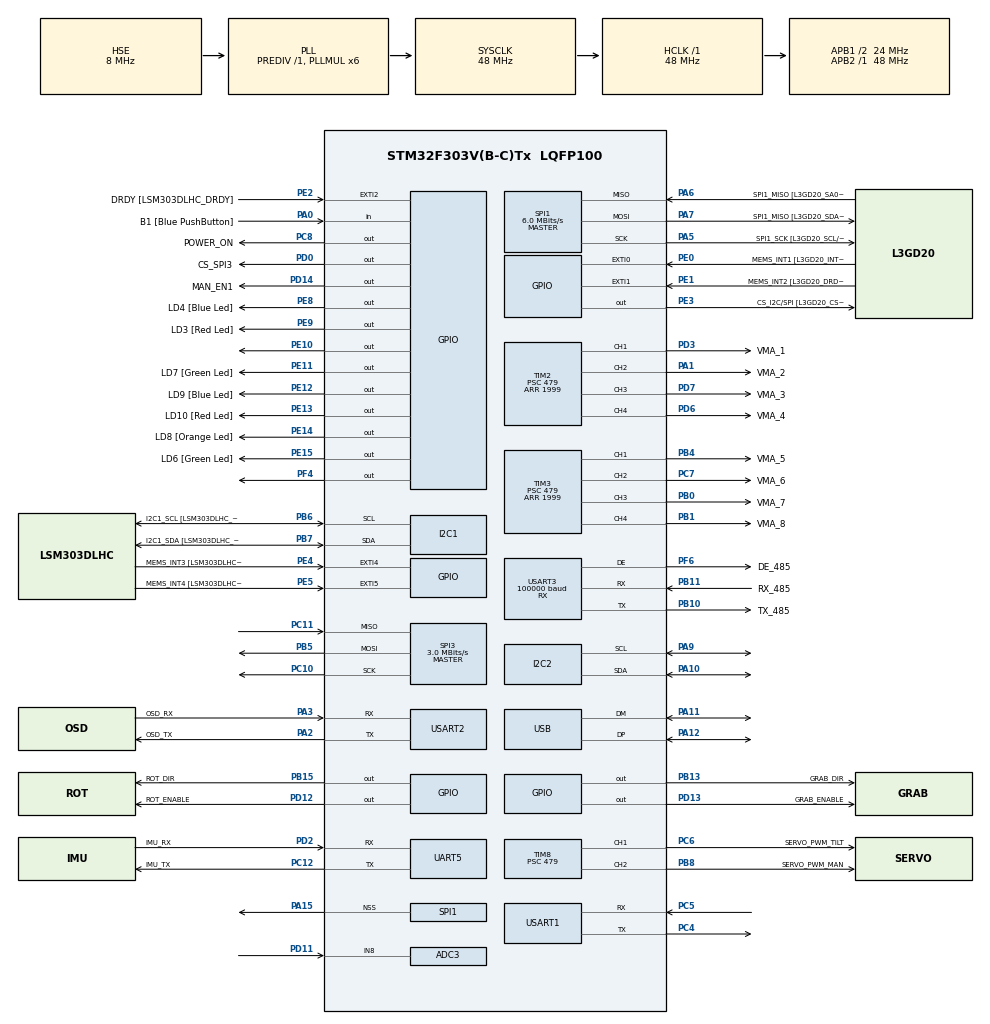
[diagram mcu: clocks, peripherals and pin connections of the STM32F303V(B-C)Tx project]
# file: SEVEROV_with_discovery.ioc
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ADC3.Channel-0\#ChannelRegularConversion=ADC_CHANNEL_8
ADC3.ContinuousConvMode=ENABLE
ADC3.NbrOfConversionFlag=1
ADC3.Offset-0\#ChannelRegularConversion=0
ADC3.OffsetNumber-0\#ChannelRegularConversion=ADC_OFFSET_NONE
ADC3.Rank-0\#ChannelRegularConversion=1
ADC3.SamplingTime-0\#ChannelRegularConversion=ADC_SAMPLETIME_19CYCLES_5
ADC3.SamplingTimeOPAMP-0\#ChannelRegularConversion=ADC_SAMPLETIME_19CYCLES_5
ADC3.master=1
I2C1.Timing-I2C=0x2000090E
I2C2.Speed=100
Mcu.Family=STM32F3
Mcu.Name=STM32F303V(B-C)Tx
Mcu.Package=LQFP100
NVIC.PriorityGroup=NVIC_PRIORITYGROUP_0
PA0.GPIO_Label=B1 [Blue PushButton]
PA0.Signal=GPIO_Input
PA1.GPIO_Label=VMA_2
PA1.Signal=S_TIM2_CH2
PA10.GPIO_Pu=GPIO_PULLUP
PA10.Mode=I2C
PA10.Signal=I2C2_SDA
PA11.Mode=Device
PA11.Signal=USB_DM
PA12.Mode=Device
PA12.Signal=USB_DP
PA13.GPIO_Label=SWDIO
PA13.Mode=Serial_Wire
PA13.Signal=SYS_JTMS-SWDIO
PA14.GPIO_Label=SWCLK
PA14.Mode=Serial_Wire
PA14.Signal=SYS_JTCK-SWCLK
PA15.Mode=NSS_Signal_Hard_Output
PA15.Signal=SPI1_NSS
PA2.GPIO_Label=OSD_TX
PA2.Mode=Asynchronous
PA2.Signal=USART2_TX
PA3.GPIO_Label=OSD_RX
PA3.Mode=Asynchronous
PA3.Signal=USART2_RX
PA5.GPIO_Label=SPI1_SCK [L3GD20_SCL/SPC]
PA5.Mode=Full_Duplex_Master
PA5.Signal=SPI1_SCK
PA6.GPIO_Label=SPI1_MISO [L3GD20_SA0/SDO]
PA6.Mode=Full_Duplex_Master
PA6.Signal=SPI1_MISO
PA7.GPIO_Label=SPI1_MISO [L3GD20_SDA/SDI/SDO]
PA7.Mode=Full_Duplex_Master
PA7.Signal=SPI1_MOSI
PA9.GPIO_Pu=GPIO_PULLUP
PA9.Mode=I2C
PA9.Signal=I2C2_SCL
PB0.GPIO_Label=VMA_7
PB0.Signal=S_TIM3_CH3
PB1.GPIO_Label=VMA_8
PB1.Signal=S_TIM3_CH4
PB10.GPIO_Label=TX_485
PB10.Mode=Asynchronous
PB10.Signal=USART3_TX
PB11.GPIO_Label=RX_485
PB11.Mode=Asynchronous
PB11.Signal=USART3_RX
PB13.GPIO_Label=GRAB_DIR
PB13.Signal=GPIO_Output
PB15.GPIO_Label=ROT_DIR
PB15.Signal=GPIO_Output
PB3.GPIO_Label=SWO
PB3.Signal=SYS_JTDO-TRACESWO
PB4.GPIO_Label=VMA_5
PB4.Signal=S_TIM3_CH1
PB5.Mode=Full_Duplex_Master
PB5.Signal=SPI3_MOSI
PB6.GPIO_Label=I2C1_SCL [LSM303DLHC_SCL]
PB6.GPIO_Pu=GPIO_PULLUP
PB6.Mode=I2C
PB6.Signal=I2C1_SCL
PB7.GPIO_Label=I2C1_SDA [LSM303DLHC_SDA]
PB7.GPIO_Pu=GPIO_PULLUP
PB7.Mode=I2C
PB7.Signal=I2C1_SDA
PB8.GPIO_Label=SERVO_PWM_MAN
PB8.Signal=S_TIM8_CH2
PC10.Mode=Full_Duplex_Master
PC10.Signal=SPI3_SCK
PC11.Mode=Full_Duplex_Master
PC11.Signal=SPI3_MISO
PC12.GPIO_Label=IMU_TX
PC12.Mode=Asynchronous
PC12.Signal=UART5_TX
PC14-OSC32_IN.GPIO_Label=OSC32_IN
PC14-OSC32_IN.Signal=RCC_OSC32_IN
PC15-OSC32_OUT.GPIO_Label=OSC32_OUT
PC15-OSC32_OUT.Signal=RCC_OSC32_OUT
PC4.Mode=Asynchronous
PC4.Signal=USART1_TX
PC5.Mode=Asynchronous
PC5.Signal=USART1_RX
PC6.GPIO_Label=SERVO_PWM_TILT
PC6.Signal=S_TIM8_CH1
PC7.GPIO_Label=VMA_6
PC7.Signal=S_TIM3_CH2
PC8.GPIO_Label=POWER_ON
PC8.Signal=GPIO_Output
PD0.GPIO_Label=CS_SPI3
PD0.Signal=GPIO_Output
PD11.Signal=ADCx_IN8P
PD12.GPIO_Label=ROT_ENABLE
PD12.GPIO_PuPd=GPIO_PULLUP
PD12.PinState=GPIO_PIN_SET
PD12.Signal=GPIO_Output
PD13.GPIO_Label=GRAB_ENABLE
PD13.GPIO_PuPd=GPIO_PULLUP
PD13.GPIO_Speed=GPIO_SPEED_FREQ_LOW
PD13.PinState=GPIO_PIN_SET
PD13.Signal=GPIO_Output
PD14.GPIO_Label=MAN_EN1
PD14.Signal=GPIO_Output
PD2.GPIO_Label=IMU_RX
PD2.Mode=Asynchronous
PD2.Signal=UART5_RX
PD3.GPIO_Label=VMA_1
PD3.Signal=S_TIM2_CH1_ETR
PD6.GPIO_Label=VMA_4
PD6.Signal=S_TIM2_CH4
PD7.GPIO_Label=VMA_3
PD7.Signal=S_TIM2_CH3
PE0.GPIO_Label=MEMS_INT1 [L3GD20_INT1]
PE0.GPIO_ModeDefaultEXTI=GPIO_MODE_EVT_RISING
PE0.Signal=GPXTI0
PE1.GPIO_Label=MEMS_INT2 [L3GD20_DRDY/INT2]
PE1.GPIO_ModeDefaultEXTI=GPIO_MODE_EVT_RISING
PE1.Signal=GPXTI1
PE10.Signal=GPIO_Output
PE11.GPIO_Label=LD7 [Green Led]
PE11.Signal=GPIO_Output
PE12.GPIO_Label=LD9 [Blue Led]
PE12.Signal=GPIO_Output
PE13.GPIO_Label=LD10 [Red Led]
PE13.Signal=GPIO_Output
PE14.GPIO_Label=LD8 [Orange Led]
PE14.Signal=GPIO_Output
PE15.GPIO_Label=LD6 [Green Led]
PE15.Signal=GPIO_Output
PE2.GPIO_Label=DRDY [LSM303DLHC_DRDY]
PE2.GPIO_ModeDefaultEXTI=GPIO_MODE_EVT_RISING
PE2.Signal=GPXTI2
PE3.GPIO_Label=CS_I2C/SPI [L3GD20_CS_I2C/SPI]
PE3.Signal=GPIO_Output
PE4.GPIO_Label=MEMS_INT3 [LSM303DLHC_INT1]
PE4.GPIO_ModeDefaultEXTI=GPIO_MODE_EVT_RISING
PE4.Signal=GPXTI4
PE5.GPIO_Label=MEMS_INT4 [LSM303DLHC_INT2]
PE5.GPIO_ModeDefaultEXTI=GPIO_MODE_EVT_RISING
PE5.Signal=GPXTI5
PE8.GPIO_Label=LD4 [Blue Led]
PE8.Signal=GPIO_Output
PE9.GPIO_Label=LD3 [Red Led]
PE9.Signal=GPIO_Output
PF0-OSC_IN.GPIO_Label=OSC_IN
PF0-OSC_IN.Mode=HSE-External-Oscillator
PF0-OSC_IN.Signal=RCC_OSC_IN
PF1-OSC_OUT.GPIO_Label=OSC_OUT
PF1-OSC_OUT.Mode=HSE-External-Oscillator
PF1-OSC_OUT.Signal=RCC_OSC_OUT
PF4.Signal=GPIO_Output
PF6.GPIO_Label=DE_485
PF6.Mode=Hardware Flow Control (RS485)
PF6.Signal=USART3_DE
ProjectManager.HeapSize=0x200
ProjectManager.StackSize=0x400
ProjectManager.TargetToolchain=STM32CubeIDE
RCC.AHBFreq_Value=48000000
RCC.APB1CLKDivider=RCC_HCLK_DIV2
RCC.APB1Freq_Value=24000000
RCC.APB1TimFreq_Value=48000000
RCC.APB2Freq_Value=48000000
RCC.APB2TimFreq_Value=48000000
RCC.CortexFreq_Value=48000000
RCC.HCLKFreq_Value=48000000
RCC.HSE_VALUE=8000000
RCC.HSI_VALUE=8000000
RCC.LSE_VALUE=32768
RCC.PLLMUL=RCC_PLL_MUL6
RCC.SYSCLKFreq_VALUE=48000000
RCC.SYSCLKSourceVirtual=RCC_SYSCLKSOURCE_PLLCLK
RCC.USBFreq_Value=48000000
SH.ADCx_IN8P.0=ADC3_IN8,IN8-Single-Ended
SH.S_TIM2_CH1_ETR.0=TIM2_CH1,PWM Generation1 CH1
SH.S_TIM2_CH2.0=TIM2_CH2,PWM Generation2 CH2
SH.S_TIM2_CH3.0=TIM2_CH3,PWM Generation3 CH3
SH.S_TIM2_CH4.0=TIM2_CH4,PWM Generation4 CH4
SH.S_TIM3_CH1.0=TIM3_CH1,PWM Generation1 CH1
SH.S_TIM3_CH2.0=TIM3_CH2,PWM Generation2 CH2
SH.S_TIM3_CH3.0=TIM3_CH3,PWM Generation3 CH3
SH.S_TIM3_CH4.0=TIM3_CH4,PWM Generation4 CH4
SH.S_TIM8_CH1.0=TIM8_CH1,PWM Generation1 CH1
SH.S_TIM8_CH2.0=TIM8_CH2,PWM Generation2 CH2
SPI1.BaudRatePrescaler=SPI_BAUDRATEPRESCALER_8
SPI1.CalculateBaudRate=6.0 MBits/s
SPI1.DataSize=SPI_DATASIZE_8BIT
SPI1.Direction=SPI_DIRECTION_2LINES
SPI1.Mode=SPI_MODE_MASTER
SPI1.VirtualNSS=VM_NSSHARD
SPI1.VirtualType=VM_MASTER
SPI3.BaudRatePrescaler=SPI_BAUDRATEPRESCALER_8
SPI3.CLKPhase=SPI_PHASE_1EDGE
SPI3.CLKPolarity=SPI_POLARITY_LOW
SPI3.CalculateBaudRate=3.0 MBits/s
SPI3.DataSize=SPI_DATASIZE_8BIT
SPI3.Direction=SPI_DIRECTION_2LINES
SPI3.FirstBit=SPI_FIRSTBIT_MSB
SPI3.Mode=SPI_MODE_MASTER
SPI3.NSSPMode=SPI_NSS_PULSE_ENABLE
SPI3.VirtualType=VM_MASTER
TIM2.Channel-PWM\ Generation1\ CH1=TIM_CHANNEL_1
TIM2.Channel-PWM\ Generation2\ CH2=TIM_CHANNEL_2
TIM2.Channel-PWM\ Generation3\ CH3=TIM_CHANNEL_3
TIM2.Channel-PWM\ Generation4\ CH4=TIM_CHANNEL_4
TIM2.ClockDivision=TIM_CLOCKDIVISION_DIV4
TIM2.Period=1999
TIM2.Prescaler=479
TIM2.Pulse-PWM\ Generation2\ CH2=150
TIM2.Pulse-PWM\ Generation3\ CH3=150
TIM2.Pulse-PWM\ Generation4\ CH4=150
TIM3.Channel-PWM\ Generation1\ CH1=TIM_CHANNEL_1
TIM3.Channel-PWM\ Generation2\ CH2=TIM_CHANNEL_2
TIM3.Channel-PWM\ Generation3\ CH3=TIM_CHANNEL_3
TIM3.Channel-PWM\ Generation4\ CH4=TIM_CHANNEL_4
TIM3.ClockDivision=TIM_CLOCKDIVISION_DIV4
TIM3.Period=1999
TIM3.Prescaler=479
TIM3.Pulse-PWM\ Generation1\ CH1=150
TIM3.Pulse-PWM\ Generation2\ CH2=150
TIM3.Pulse-PWM\ Generation3\ CH3=150
TIM3.Pulse-PWM\ Generation4\ CH4=150
TIM8.Channel-PWM\ Generation1\ CH1=TIM_CHANNEL_1
TIM8.Channel-PWM\ Generation2\ CH2=TIM_CHANNEL_2
TIM8.ClockDivision=TIM_CLOCKDIVISION_DIV4
TIM8.Period=1999
TIM8.Prescaler=479
TIM8.Pulse-PWM\ Generation1\ CH1=150
TIM8.Pulse-PWM\ Generation2\ CH2=150
USART1.VirtualMode-Asynchronous=VM_ASYNC
USART2.VirtualMode-Asynchronous=VM_ASYNC
USART3.BaudRate=100000
USART3.DMADisableonRxErrorParam=ADVFEATURE_DMA_DISABLEONRXERROR
USART3.Mode=MODE_RX
USART3.OverrunDisableParam=ADVFEATURE_OVERRUN_DISABLE
USART3.Parity=PARITY_EVEN
USART3.RxPinLevelInvertParam=ADVFEATURE_RXINV_ENABLE
USART3.StopBits=STOPBITS_2
USART3.TxPinLevelInvertParam=ADVFEATURE_TXINV_ENABLE
USART3.VirtualMode-Asynchronous=VM_ASYNC
USART3.VirtualMode-Hardware\ Flow\ Control\ (RS485)=VM_ASYNC
USART3.WordLength=WORDLENGTH_9B
board=STM32F3DISCOVERY

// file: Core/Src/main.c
/* USER CODE BEGIN Header */
/**
 ******************************************************************************
 * @file           : main.c
 * @brief          : Main program body
 ******************************************************************************
 * @attention
 *
 * Copyright (c) 2022 STMicroelectronics.
 * All rights reserved.
 *
 * This software is licensed under terms that can be found in the LICENSE file
 * in the root directory of this software component.
 * If no LICENSE file comes with this software, it is provided AS-IS.
 *
 ******************************************************************************
 */
/* USER CODE END Header */
#include "main.h"

/* USER CODE BEGIN Includes */
#include <stdio.h>
#include "string.h"
#include <math.h>

#include "Thruster.h" //хедр для работы с ВМА
#include "MS5837-30BA.h" //хедр для работы с датчиком глубины

#include "max7456.h" //хедр для работы с  максом
#include "osdWidgets.h" //хедр для выводы  виджетов на экран

#include "l3gd20.h" //либа для работы с гироскопом
#include "lsm303dlhc.h" //либа для работы с компосом и акселирометром
#include "imu9dof.h" //либа для оброботки данных с иму
#include "MadgwickAHRS.h"
/* USER CODE END Includes */

ADC_HandleTypeDef hadc3;

I2C_HandleTypeDef hi2c1;
I2C_HandleTypeDef hi2c2;

SPI_HandleTypeDef hspi1;
SPI_HandleTypeDef hspi3;

TIM_HandleTypeDef htim2;
TIM_HandleTypeDef htim3;
TIM_HandleTypeDef htim8;

UART_HandleTypeDef huart5;
UART_HandleTypeDef huart1;
UART_HandleTypeDef huart2;
UART_HandleTypeDef huart3;

PCD_HandleTypeDef hpcd_USB_FS;

/* USER CODE BEGIN PV */

float GyroBuffer[3], AccBuffer[3], MagBuffer[3], Buffer[3];//массив для �?МУ
float magX_bias, magY_bias, xem; //переменные хз для чего
char    buf[60];
#define PI 3.14159265359

uint16_t ch_[16];// массив каналов
uint8_t buf_[22];//буфер юарт

int marsh[8] = {70,-70,70,-70,70,-70,-70,70};//вектор марша
int lag[8] = {70,70,-70,-70,-70,70,-70,70};//вектор лага
int up[8] = {-70,-70,-70,-70,70,70,70,70};//вектор движения вверх и низ

int kurs[8] = {40,40,-40,-40,40,-40,40,-40};//вектор курса
int kren[8] = {-0,0,0,-0,0,0,-0,-0};//вектор крена
int diferent[8] = {-0,-0,-0,-0,0,0,0,0};//вектор диффирента

int vma[8] = {0,0,0,0,0,0,0,0};//суммарный вектор

int max_speed = 70;
//переменные для коэфицентов по осям
float marsh_k;
float lag_k;
float up_k;
float kurs_k;
float kren_k;
float diferent_k;
float tilt_k;
float main_k;

float rot_k;
float grab_k;

int init_depth_status;

uint16_t adc = 0;// переменная для измерения напряжения на акуумах

int32_t real_depth = 0; //переменная для глубины

uint32_t init_pressure = 0; //значение атмасферного давленения

/* USER CODE END PV */

void SystemClock_Config(void);
static void MX_GPIO_Init(void);
static void MX_I2C1_Init(void);
static void MX_SPI1_Init(void);
static void MX_I2C2_Init(void);
static void MX_USART1_UART_Init(void);
static void MX_USART2_UART_Init(void);
static void MX_TIM2_Init(void);
static void MX_TIM3_Init(void);
static void MX_TIM8_Init(void);
static void MX_USART3_UART_Init(void);
static void MX_SPI3_Init(void);
static void MX_USB_PCD_Init(void);
static void MX_UART5_Init(void);
static void MX_ADC3_Init(void);

int main(void)
{

	/* MCU Configuration--------------------------------------------------------*/

	/* Reset of all peripherals, Initializes the Flash interface and the Systick. */
	HAL_Init();

	/* Configure the system clock */
	SystemClock_Config();

	/* Initialize all configured peripherals */
	MX_GPIO_Init();
	MX_I2C1_Init();
	MX_SPI1_Init();
	MX_I2C2_Init();
	MX_USART1_UART_Init();
	MX_USART2_UART_Init();
	MX_TIM2_Init();
	MX_TIM3_Init();
	MX_TIM8_Init();
	MX_USART3_UART_Init();
	MX_SPI3_Init();
	MX_USB_PCD_Init();
	MX_UART5_Init();
	MX_ADC3_Init();
	/* USER CODE BEGIN 2 */
	HAL_GPIO_WritePin(LD9_GPIO_Port, LD9_Pin, GPIO_PIN_SET); //индикация о начале работы программы

	HAL_GPIO_WritePin(POWER_ON_GPIO_Port, POWER_ON_Pin, GPIO_PIN_SET); //включаем силовое питание
	HAL_GPIO_WritePin(CS_SPI3_GPIO_Port, CS_SPI3_Pin, GPIO_PIN_SET); //выключаем spi на max7456

	HAL_ADCEx_Calibration_Start(&hadc3,ADC_SINGLE_ENDED); //калибруем ацп на измерение напрежения с аккумов
	HAL_ADC_Start_IT(&hadc3); //начинаем измерять напряжение

	HAL_GPIO_WritePin(ROT_ENABLE_GPIO_Port, ROT_ENABLE_Pin, GPIO_PIN_SET);
	HAL_GPIO_WritePin(GRAB_ENABLE_GPIO_Port, GRAB_ENABLE_Pin, GPIO_PIN_SET);

	HAL_TIM_PWM_Start_IT(&htim8, TIM_CHANNEL_1); //стартуем ШИМ на серву на тилте

	Thruster_Init();//�?ницилизируем ВМА

	resetMax7456();//ресетим МАКС
	initMax7456();//иницилизируем макс
//	downloadMax7456Font();
//	showMax7456Font();
	init_depth_status = pressure_init();//иницилизируем датчик датчик глубины

	l3gd20_init();//иницилизируем гироскоп
	l3gd20_reboot();

	lsm_init(); //иницилизируем магнитометр и аксилирометр
	lsm_reboot();

	magX_bias = 0;//хз что-ето
	magY_bias = 0;//хз что-ето

	/* USER CODE END 2 */

	/* Infinite loop */
	/* USER CODE BEGIN WHILE */

	//читаем �?МУ
	l3gd20_readxyz(GyroBuffer);
	lsm_accxyz(AccBuffer);
	lsm_magxyz(MagBuffer);
	//фильтруем �?МУ

	//выводи время с начала работы программы
	displayMotorArmedTime(HAL_GetTick()/1000);
	//измеряем глубину и выводим ее
	if (init_depth_status){
		init_pressure = reset_pressure();
		real_depth = check_pressure()-init_pressure;
		displayDepth(real_depth);
	}
	else
		displayNoConnection();
	//измеряем напряжение на аккумах
	adc = HAL_ADC_GetValue(&hadc3);
	//выводим курс на монитор
	displayHeading(Buffer[2], 1);

	while (1)
	{
		HAL_GPIO_WritePin(LD8_GPIO_Port, LD8_Pin, GPIO_PIN_RESET);
		HAL_UART_Receive(&huart3, (uint8_t*)buf_, 22, 10); //принимаем сообщение

		while(buf_[0]!=0xf || buf_[19]!=0x0){ //проверяем соответсвует ли посылка
			HAL_UART_Receive(&huart3, (uint8_t*)buf_, 22, 10);//принимаем сообщение еще раз
			HAL_GPIO_WritePin(LD8_GPIO_Port, LD8_Pin, GPIO_PIN_RESET);//индикация о не прием
		}

		if(buf_[0]==0xf && buf_[19]==0x0)
		{
			HAL_GPIO_WritePin(LD8_GPIO_Port, LD8_Pin, GPIO_PIN_SET); //индикация о прием

			//парсим посылку в каналы
			ch_[0]  = ((int16_t)buf_[ 1] >> 0 | ((int16_t)buf_[ 2] << 8 )) & 0x07FF;
			ch_[1]  = ((int16_t)buf_[ 2] >> 3 | ((int16_t)buf_[ 3] << 5 )) & 0x07FF;
			ch_[2]  =((int16_t)buf_[ 3] >> 6 | ((int16_t)buf_[ 4] << 2 ) | (int16_t)buf_[ 5] << 10 ) & 0x07FF;
			ch_[3]  = ((int16_t)buf_[ 5] >> 1 | ((int16_t)buf_[ 6] << 7 )) & 0x07FF;
			ch_[4]  = ((int16_t)buf_[ 6] >> 4 | ((int16_t)buf_[ 7] << 4 )) & 0x07FF;
			ch_[5]  =  ((int16_t)buf_[ 7] >> 7 | ((int16_t)buf_[ 8] << 1 ) | (int16_t)buf_[9] << 9 ) & 0x07FF;

			ch_[6]  = ((int16_t)buf_[ 9] >> 2 | ((int16_t)buf_[10] << 6 )) & 0x07FF;

			ch_[7]  = ((int16_t)buf_[10] >> 5 | ((int16_t)buf_[11] << 3 )) & 0x07FF;

			ch_[8]  = ((int16_t)buf_[12] << 0 | ((int16_t)buf_[13] << 8 )) & 0x07FF;
			ch_[9]  =  ((int16_t)buf_[13] >> 3 | ((int16_t)buf_[14] << 5 )) & 0x07FF;
			ch_[10] = ((int16_t)buf_[14] >> 6 | ((int16_t)buf_[15] << 2 ) | (int16_t)buf_[16] << 10 ) & 0x07FF;

			// 1 канал лаг
			// 2 канал марш
			// 3 канал верх низ движ
			// 4 канал курс
			// 5 канал ротации
			// 6 канал крен
			// 7 канал тилт
			// 8 канал максимальная скорость
			// 9 канал включение и выключения силового питания
			// 10 канал схвата

			// ниже вычисляем коэфиценты для каждого движения
			marsh_k = (ch_[1]-1000)/700.0;
			lag_k = (ch_[0]-1000)/700.0;
			up_k = (ch_[2]-1000)/700.0;
			kurs_k =(ch_[3]-1000)/700.0;
			kren_k = (ch_[5]-1000)/700.0;
			diferent_k = (ch_[4]-1000)/700.0;

			tilt_k = (ch_[6]-1000)/700.0;
			grab_k = (ch_[9]-1000)/700.0;
			rot_k = (ch_[4]-1000)/700.0;

			max_speed = (ch_[7]-75)/2000.0*70;
			//суммируем все вектора
			for(int j=0;j<8;j++)
			{
				vma[j]=  (marsh[j]*marsh_k+lag[j]*lag_k+up[j]*up_k+kurs[j]*kurs_k+kren[j]*kren_k+diferent[j]*diferent_k);
			}

			//проверяем в пределах ли макс значения
			int max = 0;
			for(int i = 0; i < 8; ++i)
			{
				if(fabs(vma[i]) > max)
				{
					max = fabs(vma[i]);
				}
			}
			//если есть привышения делим все на коэфицент
			if(max>max_speed)
			{
				for(int j=0;j<8;j++)
				{
					vma[j]=  (marsh[j]*marsh_k+lag[j]*lag_k+up[j]*up_k+kurs[j]*kurs_k+kren[j]*kren_k+diferent[j]*diferent_k)*max_speed/max;
				}
			}

			//задаем скорость вращения каждого ВМА
			Thruster_Set_Perc(vma);

			if(ch_[8]>1100){
				HAL_GPIO_WritePin(POWER_ON_GPIO_Port, POWER_ON_Pin, GPIO_PIN_RESET);//выключаем всю силовуху
				//videoHideMax7456(0);//выключаем видео с камеры
			}
			else if(HAL_GPIO_ReadPin(POWER_ON_GPIO_Port, POWER_ON_Pin)==GPIO_PIN_RESET)

			{
				//включаем всю силовуху
				HAL_GPIO_WritePin(POWER_ON_GPIO_Port, POWER_ON_Pin, GPIO_PIN_SET);
				//раскоментить на соревах
//								videoHideMax7456(1);//включаем видео с камеры
//								resetMax7456();//ресетим МАКС
				resetMax7456();//ресетим МАКС
				initMax7456();//иницилизируем макс

				HAL_GPIO_WritePin(GRAB_ENABLE_GPIO_Port, GRAB_ENABLE_Pin, GPIO_PIN_SET); //ресетим ман
				HAL_GPIO_WritePin(ROT_ENABLE_GPIO_Port, ROT_ENABLE_Pin, GPIO_PIN_SET);

				//init_depth_status = pressure_init();//иницилизируем датчик датчик глубины
				//init_pressure = reset_pressure();
				//real_depth = check_pressure()-init_pressure;

				l3gd20_init();//иницилизируем гироскоп
				l3gd20_reboot();
				lsm_init(); //иницилизируем магнитометр и аксилирометр
				lsm_reboot();
				imu9dof(AccBuffer, GyroBuffer, MagBuffer, Buffer,0.2);//сброс иму
				Thruster_Stop();
			}

			__HAL_TIM_SET_COMPARE(&htim8, TIM_CHANNEL_1, 150-tilt_k*50);//задаем угол тилта

			if(grab_k > 0.7)
			{
				HAL_GPIO_WritePin(GRAB_DIR_GPIO_Port, GRAB_DIR_Pin, GPIO_PIN_SET);
				HAL_GPIO_WritePin(GRAB_ENABLE_GPIO_Port, GRAB_ENABLE_Pin, GPIO_PIN_RESET);
			}else if(grab_k < -0.7)
			{
				HAL_GPIO_WritePin(GRAB_DIR_GPIO_Port, GRAB_DIR_Pin, GPIO_PIN_RESET);
				HAL_GPIO_WritePin(GRAB_ENABLE_GPIO_Port, GRAB_ENABLE_Pin, GPIO_PIN_RESET);
			}
			else
				HAL_GPIO_WritePin(GRAB_ENABLE_GPIO_Port, GRAB_ENABLE_Pin, GPIO_PIN_SET);

			if(rot_k > 0.7)
			{
				HAL_GPIO_WritePin(ROT_DIR_GPIO_Port, ROT_DIR_Pin, GPIO_PIN_SET);
				HAL_GPIO_WritePin(ROT_ENABLE_GPIO_Port, ROT_ENABLE_Pin, GPIO_PIN_RESET);
			}else if(rot_k < -0.7)
			{
				HAL_GPIO_WritePin(ROT_DIR_GPIO_Port, ROT_DIR_Pin, GPIO_PIN_RESET);
				HAL_GPIO_WritePin(ROT_ENABLE_GPIO_Port, ROT_ENABLE_Pin, GPIO_PIN_RESET);
			}
			else
				HAL_GPIO_WritePin(ROT_ENABLE_GPIO_Port, ROT_ENABLE_Pin, GPIO_PIN_SET);

		}

		for(int j=0;j<22;j++)
		{
			buf_[j]=0;//обнуляем массив с числами
		}

		//читаем �?МУ

		l3gd20_readxyz(GyroBuffer);
		lsm_accxyz(AccBuffer);
		lsm_magxyz(MagBuffer);

		//фильтруем �?МУ
		imu9dof(AccBuffer, GyroBuffer, MagBuffer, Buffer,0.1);

		//выводим курс на монитор
		displayHeading(Buffer[2], 1);
		//выводи время с начала работы программы
		displayMotorArmedTime();
		//измеряем глубину и выводим ее
		if(HAL_GetTick()%50==0)
		{
			real_depth = check_pressure()-init_pressure;
			displayDepth(real_depth);
		}
		//измеряем напряжение на аккумах и вывовди его
		adc = HAL_ADC_GetValue(&hadc3);
		displayBattery(adc*0.1064);
		displaycompas(Buffer[0],Buffer[1], tilt_k*90+118,max_speed);
		/* USER CODE END WHILE */

	}
}

void SystemClock_Config(void)
{
	RCC_OscInitTypeDef RCC_OscInitStruct = {0};
	RCC_ClkInitTypeDef RCC_ClkInitStruct = {0};
	RCC_PeriphCLKInitTypeDef PeriphClkInit = {0};

	/** Initializes the RCC Oscillators according to the specified parameters
	 * in the RCC_OscInitTypeDef structure.
	 */
	RCC_OscInitStruct.OscillatorType = RCC_OSCILLATORTYPE_HSI|RCC_OSCILLATORTYPE_HSE;
	RCC_OscInitStruct.HSEState = RCC_HSE_ON;
	RCC_OscInitStruct.HSEPredivValue = RCC_HSE_PREDIV_DIV1;
	RCC_OscInitStruct.HSIState = RCC_HSI_ON;
	RCC_OscInitStruct.HSICalibrationValue = RCC_HSICALIBRATION_DEFAULT;
	RCC_OscInitStruct.PLL.PLLState = RCC_PLL_ON;
	RCC_OscInitStruct.PLL.PLLSource = RCC_PLLSOURCE_HSE;
	RCC_OscInitStruct.PLL.PLLMUL = RCC_PLL_MUL6;
	if (HAL_RCC_OscConfig(&RCC_OscInitStruct) != HAL_OK)
	{
		Error_Handler();
	}
	/** Initializes the CPU, AHB and APB buses clocks
	 */
	RCC_ClkInitStruct.ClockType = RCC_CLOCKTYPE_HCLK|RCC_CLOCKTYPE_SYSCLK
			|RCC_CLOCKTYPE_PCLK1|RCC_CLOCKTYPE_PCLK2;
	RCC_ClkInitStruct.SYSCLKSource = RCC_SYSCLKSOURCE_PLLCLK;
	RCC_ClkInitStruct.AHBCLKDivider = RCC_SYSCLK_DIV1;
	RCC_ClkInitStruct.APB1CLKDivider = RCC_HCLK_DIV2;
	RCC_ClkInitStruct.APB2CLKDivider = RCC_HCLK_DIV1;

	if (HAL_RCC_ClockConfig(&RCC_ClkInitStruct, FLASH_LATENCY_1) != HAL_OK)
	{
		Error_Handler();
	}
	PeriphClkInit.PeriphClockSelection = RCC_PERIPHCLK_USB|RCC_PERIPHCLK_USART1
			|RCC_PERIPHCLK_USART2|RCC_PERIPHCLK_USART3
			|RCC_PERIPHCLK_UART5|RCC_PERIPHCLK_I2C1
			|RCC_PERIPHCLK_I2C2|RCC_PERIPHCLK_TIM8
			|RCC_PERIPHCLK_ADC34;
	PeriphClkInit.Usart1ClockSelection = RCC_USART1CLKSOURCE_PCLK2;
	PeriphClkInit.Usart2ClockSelection = RCC_USART2CLKSOURCE_PCLK1;
	PeriphClkInit.Usart3ClockSelection = RCC_USART3CLKSOURCE_PCLK1;
	PeriphClkInit.Uart5ClockSelection = RCC_UART5CLKSOURCE_PCLK1;
	PeriphClkInit.Adc34ClockSelection = RCC_ADC34PLLCLK_DIV1;
	PeriphClkInit.I2c1ClockSelection = RCC_I2C1CLKSOURCE_HSI;
	PeriphClkInit.I2c2ClockSelection = RCC_I2C2CLKSOURCE_HSI;
	PeriphClkInit.USBClockSelection = RCC_USBCLKSOURCE_PLL;
	PeriphClkInit.Tim8ClockSelection = RCC_TIM8CLK_HCLK;
	if (HAL_RCCEx_PeriphCLKConfig(&PeriphClkInit) != HAL_OK)
	{
		Error_Handler();
	}
}

static void MX_ADC3_Init(void)
{

	ADC_MultiModeTypeDef multimode = {0};
	ADC_ChannelConfTypeDef sConfig = {0};

	/** Common config
	 */
	hadc3.Instance = ADC3;
	hadc3.Init.ClockPrescaler = ADC_CLOCK_ASYNC_DIV1;
	hadc3.Init.Resolution = ADC_RESOLUTION_12B;
	hadc3.Init.ScanConvMode = ADC_SCAN_DISABLE;
	hadc3.Init.ContinuousConvMode = ENABLE;
	hadc3.Init.DiscontinuousConvMode = DISABLE;
	hadc3.Init.ExternalTrigConvEdge = ADC_EXTERNALTRIGCONVEDGE_NONE;
	hadc3.Init.ExternalTrigConv = ADC_SOFTWARE_START;
	hadc3.Init.DataAlign = ADC_DATAALIGN_RIGHT;
	hadc3.Init.NbrOfConversion = 1;
	hadc3.Init.DMAContinuousRequests = DISABLE;
	hadc3.Init.EOCSelection = ADC_EOC_SINGLE_CONV;
	hadc3.Init.LowPowerAutoWait = DISABLE;
	hadc3.Init.Overrun = ADC_OVR_DATA_OVERWRITTEN;
	if (HAL_ADC_Init(&hadc3) != HAL_OK)
	{
		Error_Handler();
	}
	/** Configure the ADC multi-mode
	 */
	multimode.Mode = ADC_MODE_INDEPENDENT;
	if (HAL_ADCEx_MultiModeConfigChannel(&hadc3, &multimode) != HAL_OK)
	{
		Error_Handler();
	}
	/** Configure Regular Channel
	 */
	sConfig.Channel = ADC_CHANNEL_8;
	sConfig.Rank = ADC_REGULAR_RANK_1;
	sConfig.SingleDiff = ADC_SINGLE_ENDED;
	sConfig.SamplingTime = ADC_SAMPLETIME_19CYCLES_5;
	sConfig.OffsetNumber = ADC_OFFSET_NONE;
	sConfig.Offset = 0;
	if (HAL_ADC_ConfigChannel(&hadc3, &sConfig) != HAL_OK)
	{
		Error_Handler();
	}

}

static void MX_I2C1_Init(void)
{

	hi2c1.Instance = I2C1;
	hi2c1.Init.Timing = 0x2000090E;
	hi2c1.Init.OwnAddress1 = 0;
	hi2c1.Init.AddressingMode = I2C_ADDRESSINGMODE_7BIT;
	hi2c1.Init.DualAddressMode = I2C_DUALADDRESS_DISABLE;
	hi2c1.Init.OwnAddress2 = 0;
	hi2c1.Init.OwnAddress2Masks = I2C_OA2_NOMASK;
	hi2c1.Init.GeneralCallMode = I2C_GENERALCALL_DISABLE;
	hi2c1.Init.NoStretchMode = I2C_NOSTRETCH_DISABLE;
	if (HAL_I2C_Init(&hi2c1) != HAL_OK)
	{
		Error_Handler();
	}
	/** Configure Analogue filter
	 */
	if (HAL_I2CEx_ConfigAnalogFilter(&hi2c1, I2C_ANALOGFILTER_ENABLE) != HAL_OK)
	{
		Error_Handler();
	}
	/** Configure Digital filter
	 */
	if (HAL_I2CEx_ConfigDigitalFilter(&hi2c1, 0) != HAL_OK)
	{
		Error_Handler();
	}

}

static void MX_I2C2_Init(void)
{

	hi2c2.Instance = I2C2;
	hi2c2.Init.Timing = 0x2000090E;
	hi2c2.Init.OwnAddress1 = 0;
	hi2c2.Init.AddressingMode = I2C_ADDRESSINGMODE_7BIT;
	hi2c2.Init.DualAddressMode = I2C_DUALADDRESS_DISABLE;
	hi2c2.Init.OwnAddress2 = 0;
	hi2c2.Init.OwnAddress2Masks = I2C_OA2_NOMASK;
	hi2c2.Init.GeneralCallMode = I2C_GENERALCALL_DISABLE;
	hi2c2.Init.NoStretchMode = I2C_NOSTRETCH_DISABLE;
	if (HAL_I2C_Init(&hi2c2) != HAL_OK)
	{
		Error_Handler();
	}
	/** Configure Analogue filter
	 */
	if (HAL_I2CEx_ConfigAnalogFilter(&hi2c2, I2C_ANALOGFILTER_ENABLE) != HAL_OK)
	{
		Error_Handler();
	}
	/** Configure Digital filter
	 */
	if (HAL_I2CEx_ConfigDigitalFilter(&hi2c2, 0) != HAL_OK)
	{
		Error_Handler();
	}

}

static void MX_SPI1_Init(void)
{

	/* SPI1 parameter configuration*/
	hspi1.Instance = SPI1;
	hspi1.Init.Mode = SPI_MODE_MASTER;
	hspi1.Init.Direction = SPI_DIRECTION_2LINES;
	hspi1.Init.DataSize = SPI_DATASIZE_8BIT;
	hspi1.Init.CLKPolarity = SPI_POLARITY_LOW;
	hspi1.Init.CLKPhase = SPI_PHASE_1EDGE;
	hspi1.Init.NSS = SPI_NSS_HARD_OUTPUT;
	hspi1.Init.BaudRatePrescaler = SPI_BAUDRATEPRESCALER_8;
	hspi1.Init.FirstBit = SPI_FIRSTBIT_MSB;
	hspi1.Init.TIMode = SPI_TIMODE_DISABLE;
	hspi1.Init.CRCCalculation = SPI_CRCCALCULATION_DISABLE;
	hspi1.Init.CRCPolynomial = 7;
	hspi1.Init.CRCLength = SPI_CRC_LENGTH_DATASIZE;
	hspi1.Init.NSSPMode = SPI_NSS_PULSE_ENABLE;
	if (HAL_SPI_Init(&hspi1) != HAL_OK)
	{
		Error_Handler();
	}

}

static void MX_SPI3_Init(void)
{

	/* SPI3 parameter configuration*/
	hspi3.Instance = SPI3;
	hspi3.Init.Mode = SPI_MODE_MASTER;
	hspi3.Init.Direction = SPI_DIRECTION_2LINES;
	hspi3.Init.DataSize = SPI_DATASIZE_8BIT;
	hspi3.Init.CLKPolarity = SPI_POLARITY_LOW;
	hspi3.Init.CLKPhase = SPI_PHASE_1EDGE;
	hspi3.Init.NSS = SPI_NSS_SOFT;
	hspi3.Init.BaudRatePrescaler = SPI_BAUDRATEPRESCALER_8;
	hspi3.Init.FirstBit = SPI_FIRSTBIT_MSB;
	hspi3.Init.TIMode = SPI_TIMODE_DISABLE;
	hspi3.Init.CRCCalculation = SPI_CRCCALCULATION_DISABLE;
	hspi3.Init.CRCPolynomial = 7;
	hspi3.Init.CRCLength = SPI_CRC_LENGTH_DATASIZE;
	hspi3.Init.NSSPMode = SPI_NSS_PULSE_ENABLE;
	if (HAL_SPI_Init(&hspi3) != HAL_OK)
	{
		Error_Handler();
	}

}

static void MX_TIM2_Init(void)
{

	TIM_MasterConfigTypeDef sMasterConfig = {0};
	TIM_OC_InitTypeDef sConfigOC = {0};

	htim2.Instance = TIM2;
	htim2.Init.Prescaler = 479;
	htim2.Init.CounterMode = TIM_COUNTERMODE_UP;
	htim2.Init.Period = 1999;
	htim2.Init.ClockDivision = TIM_CLOCKDIVISION_DIV4;
	htim2.Init.AutoReloadPreload = TIM_AUTORELOAD_PRELOAD_DISABLE;
	if (HAL_TIM_PWM_Init(&htim2) != HAL_OK)
	{
		Error_Handler();
	}
	sMasterConfig.MasterOutputTrigger = TIM_TRGO_RESET;
	sMasterConfig.MasterSlaveMode = TIM_MASTERSLAVEMODE_DISABLE;
	if (HAL_TIMEx_MasterConfigSynchronization(&htim2, &sMasterConfig) != HAL_OK)
	{
		Error_Handler();
	}
	sConfigOC.OCMode = TIM_OCMODE_PWM1;
	sConfigOC.Pulse = 0;
	sConfigOC.OCPolarity = TIM_OCPOLARITY_HIGH;
	sConfigOC.OCFastMode = TIM_OCFAST_DISABLE;
	if (HAL_TIM_PWM_ConfigChannel(&htim2, &sConfigOC, TIM_CHANNEL_1) != HAL_OK)
	{
		Error_Handler();
	}
	sConfigOC.Pulse = 150;
	if (HAL_TIM_PWM_ConfigChannel(&htim2, &sConfigOC, TIM_CHANNEL_2) != HAL_OK)
	{
		Error_Handler();
	}
	if (HAL_TIM_PWM_ConfigChannel(&htim2, &sConfigOC, TIM_CHANNEL_3) != HAL_OK)
	{
		Error_Handler();
	}
	if (HAL_TIM_PWM_ConfigChannel(&htim2, &sConfigOC, TIM_CHANNEL_4) != HAL_OK)
	{
		Error_Handler();
	}
	HAL_TIM_MspPostInit(&htim2);

}

static void MX_TIM3_Init(void)
{

	TIM_MasterConfigTypeDef sMasterConfig = {0};
	TIM_OC_InitTypeDef sConfigOC = {0};

	htim3.Instance = TIM3;
	htim3.Init.Prescaler = 479;
	htim3.Init.CounterMode = TIM_COUNTERMODE_UP;
	htim3.Init.Period = 1999;
	htim3.Init.ClockDivision = TIM_CLOCKDIVISION_DIV4;
	htim3.Init.AutoReloadPreload = TIM_AUTORELOAD_PRELOAD_DISABLE;
	if (HAL_TIM_PWM_Init(&htim3) != HAL_OK)
	{
		Error_Handler();
	}
	sMasterConfig.MasterOutputTrigger = TIM_TRGO_RESET;
	sMasterConfig.MasterSlaveMode = TIM_MASTERSLAVEMODE_DISABLE;
	if (HAL_TIMEx_MasterConfigSynchronization(&htim3, &sMasterConfig) != HAL_OK)
	{
		Error_Handler();
	}
	sConfigOC.OCMode = TIM_OCMODE_PWM1;
	sConfigOC.Pulse = 150;
	sConfigOC.OCPolarity = TIM_OCPOLARITY_HIGH;
	sConfigOC.OCFastMode = TIM_OCFAST_DISABLE;
	if (HAL_TIM_PWM_ConfigChannel(&htim3, &sConfigOC, TIM_CHANNEL_1) != HAL_OK)
	{
		Error_Handler();
	}
	if (HAL_TIM_PWM_ConfigChannel(&htim3, &sConfigOC, TIM_CHANNEL_2) != HAL_OK)
	{
		Error_Handler();
	}
	if (HAL_TIM_PWM_ConfigChannel(&htim3, &sConfigOC, TIM_CHANNEL_3) != HAL_OK)
	{
		Error_Handler();
	}
	if (HAL_TIM_PWM_ConfigChannel(&htim3, &sConfigOC, TIM_CHANNEL_4) != HAL_OK)
	{
		Error_Handler();
	}
	HAL_TIM_MspPostInit(&htim3);

}

static void MX_TIM8_Init(void)
{

	TIM_MasterConfigTypeDef sMasterConfig = {0};
	TIM_OC_InitTypeDef sConfigOC = {0};
	TIM_BreakDeadTimeConfigTypeDef sBreakDeadTimeConfig = {0};

	htim8.Instance = TIM8;
	htim8.Init.Prescaler = 479;
	htim8.Init.CounterMode = TIM_COUNTERMODE_UP;
	htim8.Init.Period = 1999;
	htim8.Init.ClockDivision = TIM_CLOCKDIVISION_DIV4;
	htim8.Init.RepetitionCounter = 0;
	htim8.Init.AutoReloadPreload = TIM_AUTORELOAD_PRELOAD_DISABLE;
	if (HAL_TIM_PWM_Init(&htim8) != HAL_OK)
	{
		Error_Handler();
	}
	sMasterConfig.MasterOutputTrigger = TIM_TRGO_RESET;
	sMasterConfig.MasterOutputTrigger2 = TIM_TRGO2_RESET;
	sMasterConfig.MasterSlaveMode = TIM_MASTERSLAVEMODE_DISABLE;
	if (HAL_TIMEx_MasterConfigSynchronization(&htim8, &sMasterConfig) != HAL_OK)
	{
		Error_Handler();
	}
	sConfigOC.OCMode = TIM_OCMODE_PWM1;
	sConfigOC.Pulse = 150;
	sConfigOC.OCPolarity = TIM_OCPOLARITY_HIGH;
	sConfigOC.OCNPolarity = TIM_OCNPOLARITY_HIGH;
	sConfigOC.OCFastMode = TIM_OCFAST_DISABLE;
	sConfigOC.OCIdleState = TIM_OCIDLESTATE_RESET;
	sConfigOC.OCNIdleState = TIM_OCNIDLESTATE_RESET;
	if (HAL_TIM_PWM_ConfigChannel(&htim8, &sConfigOC, TIM_CHANNEL_1) != HAL_OK)
	{
		Error_Handler();
	}
	if (HAL_TIM_PWM_ConfigChannel(&htim8, &sConfigOC, TIM_CHANNEL_2) != HAL_OK)
	{
		Error_Handler();
	}
	sBreakDeadTimeConfig.OffStateRunMode = TIM_OSSR_DISABLE;
	sBreakDeadTimeConfig.OffStateIDLEMode = TIM_OSSI_DISABLE;
	sBreakDeadTimeConfig.LockLevel = TIM_LOCKLEVEL_OFF;
	sBreakDeadTimeConfig.DeadTime = 0;
	sBreakDeadTimeConfig.BreakState = TIM_BREAK_DISABLE;
	sBreakDeadTimeConfig.BreakPolarity = TIM_BREAKPOLARITY_HIGH;
	sBreakDeadTimeConfig.BreakFilter = 0;
	sBreakDeadTimeConfig.Break2State = TIM_BREAK2_DISABLE;
	sBreakDeadTimeConfig.Break2Polarity = TIM_BREAK2POLARITY_HIGH;
	sBreakDeadTimeConfig.Break2Filter = 0;
	sBreakDeadTimeConfig.AutomaticOutput = TIM_AUTOMATICOUTPUT_DISABLE;
	if (HAL_TIMEx_ConfigBreakDeadTime(&htim8, &sBreakDeadTimeConfig) != HAL_OK)
	{
		Error_Handler();
	}
	HAL_TIM_MspPostInit(&htim8);

}

static void MX_UART5_Init(void)
{

	huart5.Instance = UART5;
	huart5.Init.BaudRate = 115200;
	huart5.Init.WordLength = UART_WORDLENGTH_8B;
	huart5.Init.StopBits = UART_STOPBITS_1;
	huart5.Init.Parity = UART_PARITY_NONE;
	huart5.Init.Mode = UART_MODE_TX_RX;
	huart5.Init.HwFlowCtl = UART_HWCONTROL_NONE;
	huart5.Init.OverSampling = UART_OVERSAMPLING_16;
	huart5.Init.OneBitSampling = UART_ONE_BIT_SAMPLE_DISABLE;
	huart5.AdvancedInit.AdvFeatureInit = UART_ADVFEATURE_NO_INIT;
	if (HAL_UART_Init(&huart5) != HAL_OK)
	{
		Error_Handler();
	}

}

static void MX_USART1_UART_Init(void)
{

	huart1.Instance = USART1;
	huart1.Init.BaudRate = 38400;
	huart1.Init.WordLength = UART_WORDLENGTH_8B;
	huart1.Init.StopBits = UART_STOPBITS_1;
	huart1.Init.Parity = UART_PARITY_NONE;
	huart1.Init.Mode = UART_MODE_TX_RX;
	huart1.Init.HwFlowCtl = UART_HWCONTROL_NONE;
	huart1.Init.OverSampling = UART_OVERSAMPLING_16;
	huart1.Init.OneBitSampling = UART_ONE_BIT_SAMPLE_DISABLE;
	huart1.AdvancedInit.AdvFeatureInit = UART_ADVFEATURE_NO_INIT;
	if (HAL_UART_Init(&huart1) != HAL_OK)
	{
		Error_Handler();
	}

}

static void MX_USART2_UART_Init(void)
{

	huart2.Instance = USART2;
	huart2.Init.BaudRate = 38400;
	huart2.Init.WordLength = UART_WORDLENGTH_8B;
	huart2.Init.StopBits = UART_STOPBITS_1;
	huart2.Init.Parity = UART_PARITY_NONE;
	huart2.Init.Mode = UART_MODE_TX_RX;
	huart2.Init.HwFlowCtl = UART_HWCONTROL_NONE;
	huart2.Init.OverSampling = UART_OVERSAMPLING_16;
	huart2.Init.OneBitSampling = UART_ONE_BIT_SAMPLE_DISABLE;
	huart2.AdvancedInit.AdvFeatureInit = UART_ADVFEATURE_NO_INIT;
	if (HAL_UART_Init(&huart2) != HAL_OK)
	{
		Error_Handler();
	}

}

static void MX_USART3_UART_Init(void)
{

	huart3.Instance = USART3;
	huart3.Init.BaudRate = 100000;
	huart3.Init.WordLength = UART_WORDLENGTH_9B;
	huart3.Init.StopBits = UART_STOPBITS_2;
	huart3.Init.Parity = UART_PARITY_EVEN;
	huart3.Init.Mode = UART_MODE_RX;
	huart3.Init.HwFlowCtl = UART_HWCONTROL_NONE;
	huart3.Init.OverSampling = UART_OVERSAMPLING_16;
	huart3.Init.OneBitSampling = UART_ONE_BIT_SAMPLE_DISABLE;
	huart3.AdvancedInit.AdvFeatureInit = UART_ADVFEATURE_TXINVERT_INIT|UART_ADVFEATURE_RXINVERT_INIT
			|UART_ADVFEATURE_RXOVERRUNDISABLE_INIT|UART_ADVFEATURE_DMADISABLEONERROR_INIT;
	huart3.AdvancedInit.TxPinLevelInvert = UART_ADVFEATURE_TXINV_ENABLE;
	huart3.AdvancedInit.RxPinLevelInvert = UART_ADVFEATURE_RXINV_ENABLE;
	huart3.AdvancedInit.OverrunDisable = UART_ADVFEATURE_OVERRUN_DISABLE;
	huart3.AdvancedInit.DMADisableonRxError = UART_ADVFEATURE_DMA_DISABLEONRXERROR;
	if (HAL_RS485Ex_Init(&huart3, UART_DE_POLARITY_HIGH, 0, 0) != HAL_OK)
	{
		Error_Handler();
	}

}

static void MX_USB_PCD_Init(void)
{

	hpcd_USB_FS.Instance = USB;
	hpcd_USB_FS.Init.dev_endpoints = 8;
	hpcd_USB_FS.Init.speed = PCD_SPEED_FULL;
	hpcd_USB_FS.Init.phy_itface = PCD_PHY_EMBEDDED;
	hpcd_USB_FS.Init.low_power_enable = DISABLE;
	hpcd_USB_FS.Init.battery_charging_enable = DISABLE;
	if (HAL_PCD_Init(&hpcd_USB_FS) != HAL_OK)
	{
		Error_Handler();
	}

}

static void MX_GPIO_Init(void)
{
	GPIO_InitTypeDef GPIO_InitStruct = {0};

	/* GPIO Ports Clock Enable */
	__HAL_RCC_GPIOE_CLK_ENABLE();
	__HAL_RCC_GPIOC_CLK_ENABLE();
	__HAL_RCC_GPIOF_CLK_ENABLE();
	__HAL_RCC_GPIOA_CLK_ENABLE();
	__HAL_RCC_GPIOB_CLK_ENABLE();
	__HAL_RCC_GPIOD_CLK_ENABLE();

	/*Configure GPIO pin Output Level */
	HAL_GPIO_WritePin(GPIOE, CS_I2C_SPI_Pin|LD4_Pin|LD3_Pin|GPIO_PIN_10
			|LD7_Pin|LD9_Pin|LD10_Pin|LD8_Pin
			|LD6_Pin, GPIO_PIN_RESET);

	/*Configure GPIO pin Output Level */
	HAL_GPIO_WritePin(GPIOF, GPIO_PIN_4, GPIO_PIN_RESET);

	/*Configure GPIO pin Output Level */
	HAL_GPIO_WritePin(GPIOB, GRAB_DIR_Pin|ROT_DIR_Pin, GPIO_PIN_RESET);

	/*Configure GPIO pin Output Level */
	HAL_GPIO_WritePin(GPIOD, ROT_ENABLE_Pin|GRAB_ENABLE_Pin, GPIO_PIN_SET);

	/*Configure GPIO pin Output Level */
	HAL_GPIO_WritePin(GPIOD, MAN_EN1_Pin|CS_SPI3_Pin, GPIO_PIN_RESET);

	/*Configure GPIO pin Output Level */
	HAL_GPIO_WritePin(POWER_ON_GPIO_Port, POWER_ON_Pin, GPIO_PIN_RESET);

	/*Configure GPIO pins : DRDY_Pin MEMS_INT3_Pin MEMS_INT4_Pin MEMS_INT1_Pin
                           MEMS_INT2_Pin */
	GPIO_InitStruct.Pin = DRDY_Pin|MEMS_INT3_Pin|MEMS_INT4_Pin|MEMS_INT1_Pin
			|MEMS_INT2_Pin;
	GPIO_InitStruct.Mode = GPIO_MODE_EVT_RISING;
	GPIO_InitStruct.Pull = GPIO_NOPULL;
	HAL_GPIO_Init(GPIOE, &GPIO_InitStruct);

	/*Configure GPIO pins : CS_I2C_SPI_Pin LD4_Pin LD3_Pin PE10
                           LD7_Pin LD9_Pin LD10_Pin LD8_Pin
                           LD6_Pin */
	GPIO_InitStruct.Pin = CS_I2C_SPI_Pin|LD4_Pin|LD3_Pin|GPIO_PIN_10
			|LD7_Pin|LD9_Pin|LD10_Pin|LD8_Pin
			|LD6_Pin;
	GPIO_InitStruct.Mode = GPIO_MODE_OUTPUT_PP;
	GPIO_InitStruct.Pull = GPIO_NOPULL;
	GPIO_InitStruct.Speed = GPIO_SPEED_FREQ_LOW;
	HAL_GPIO_Init(GPIOE, &GPIO_InitStruct);

	/*Configure GPIO pin : B1_Pin */
	GPIO_InitStruct.Pin = B1_Pin;
	GPIO_InitStruct.Mode = GPIO_MODE_INPUT;
	GPIO_InitStruct.Pull = GPIO_NOPULL;
	HAL_GPIO_Init(B1_GPIO_Port, &GPIO_InitStruct);

	/*Configure GPIO pin : PF4 */
	GPIO_InitStruct.Pin = GPIO_PIN_4;
	GPIO_InitStruct.Mode = GPIO_MODE_OUTPUT_PP;
	GPIO_InitStruct.Pull = GPIO_NOPULL;
	GPIO_InitStruct.Speed = GPIO_SPEED_FREQ_LOW;
	HAL_GPIO_Init(GPIOF, &GPIO_InitStruct);

	/*Configure GPIO pins : GRAB_DIR_Pin ROT_DIR_Pin */
	GPIO_InitStruct.Pin = GRAB_DIR_Pin|ROT_DIR_Pin;
	GPIO_InitStruct.Mode = GPIO_MODE_OUTPUT_PP;
	GPIO_InitStruct.Pull = GPIO_NOPULL;
	GPIO_InitStruct.Speed = GPIO_SPEED_FREQ_LOW;
	HAL_GPIO_Init(GPIOB, &GPIO_InitStruct);

	/*Configure GPIO pins : ROT_ENABLE_Pin GRAB_ENABLE_Pin */
	GPIO_InitStruct.Pin = ROT_ENABLE_Pin|GRAB_ENABLE_Pin;
	GPIO_InitStruct.Mode = GPIO_MODE_OUTPUT_PP;
	GPIO_InitStruct.Pull = GPIO_PULLUP;
	GPIO_InitStruct.Speed = GPIO_SPEED_FREQ_LOW;
	HAL_GPIO_Init(GPIOD, &GPIO_InitStruct);

	/*Configure GPIO pins : MAN_EN1_Pin CS_SPI3_Pin */
	GPIO_InitStruct.Pin = MAN_EN1_Pin|CS_SPI3_Pin;
	GPIO_InitStruct.Mode = GPIO_MODE_OUTPUT_PP;
	GPIO_InitStruct.Pull = GPIO_NOPULL;
	GPIO_InitStruct.Speed = GPIO_SPEED_FREQ_LOW;
	HAL_GPIO_Init(GPIOD, &GPIO_InitStruct);

	/*Configure GPIO pin : POWER_ON_Pin */
	GPIO_InitStruct.Pin = POWER_ON_Pin;
	GPIO_InitStruct.Mode = GPIO_MODE_OUTPUT_PP;
	GPIO_InitStruct.Pull = GPIO_NOPULL;
	GPIO_InitStruct.Speed = GPIO_SPEED_FREQ_LOW;
	HAL_GPIO_Init(POWER_ON_GPIO_Port, &GPIO_InitStruct);

}

void Error_Handler(void)
{
	__disable_irq();
	while (1)
	{
	}
}
